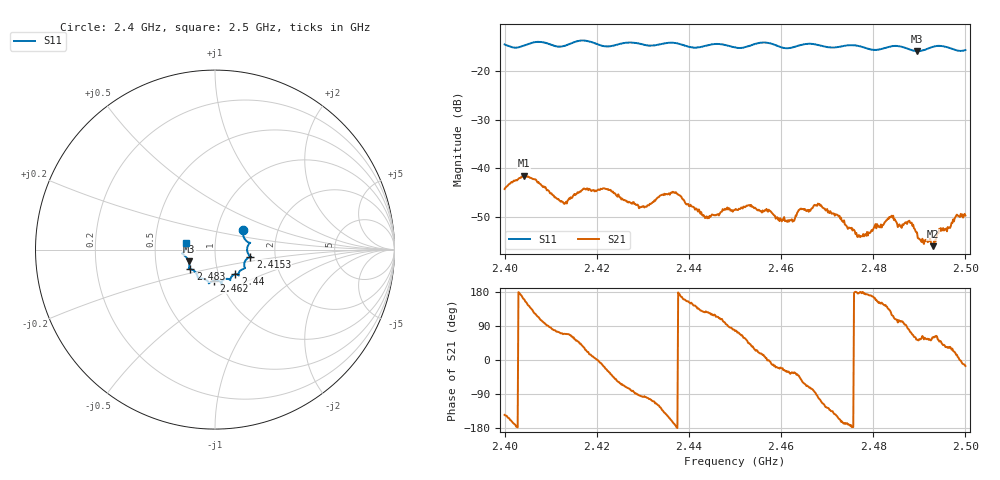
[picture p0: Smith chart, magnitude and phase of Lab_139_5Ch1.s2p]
# Hz S RI R 50
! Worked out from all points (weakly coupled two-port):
!   601 points, 2.4 GHz to 2.5 GHz, reference 50 ohm
!   highest |S21| = -41.50 dB at 2.4042 GHz (marker M1); lowest = -56.0 dB at 2.493 GHz (marker M2)
!   lowest |S11| = -15.9 dB at 2.4895 GHz (marker M3), VSWR 1.38, Z = 37 - j4.99 ohm
!   |S11| at or under -10 dB: start of sweep to end of sweep
!   S12 and S22 are empty: the file has one direction only
!   S11 on the Smith chart (normalised r, x): 2.4 GHz: 1.33, +0.29; 2.4153 GHz: 1.48, -0.12; 2.44 GHz: 1.20, -0.34; 2.462 GHz: 0.93, -0.33; 2.483 GHz: 0.74, -0.17; 2.5 GHz: 0.72, +0.06
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2.4e9  0.155 0.1067  -0.00502 -0.00353  0 0  0 0
2.404167e9  0.1767 0.0464  -0.00795 0.00276  0 0  0 0
2.412667e9  0.1798 -0.0105  0.00168 0.00418  0 0  0 0
2.415333e9  0.1963 -0.0388  0.00313 0.0043  0 0  0 0
2.416667e9  0.2019 -0.0428  0.00453 0.00381  0 0  0 0
2.422e9  0.1675 -0.0641  0.00562 -0.00246  0 0  0 0
2.429667e9  0.1561 -0.108  -0.000406 -0.00402  0 0  0 0
2.433333e9  0.1311 -0.1336  -0.00249 -0.0044  0 0  0 0
2.437e9  0.132 -0.1433  -0.00559 -0.000847  0 0  0 0
2.44e9  0.1139 -0.1367  -0.00364 0.00189  0 0  0 0
2.443833e9  0.0863 -0.162  -0.00193 0.00257  0 0  0 0
2.45e9  0.0647 -0.1626  0.00087 0.00365  0 0  0 0
2.462e9  -0.00526 -0.1731  0.00235 -0.00174  0 0  0 0
2.466667e9  -0.0343 -0.1877  0.000931 -0.00377  0 0  0 0
2.4685e9  -0.0376 -0.1794  -0.00108 -0.004  0 0  0 0
2.477e9  -0.0961 -0.1529  -0.00204 9.29e-05  0 0  0 0
2.483e9  -0.1375 -0.1094  -0.00228 0.00188  0 0  0 0
2.483333e9  -0.1401 -0.1093  -0.00212 0.00216  0 0  0 0
2.488e9  -0.1423 -0.0863  0.000752 0.00267  0 0  0 0
2.4895e9  -0.1462 -0.0658  0.00129 0.00178  0 0  0 0
2.493e9  -0.176 -0.0273  0.000787 0.00138  0 0  0 0
2.5e9  -0.1597 0.0391  0.00316 -0.000889  0 0  0 0
